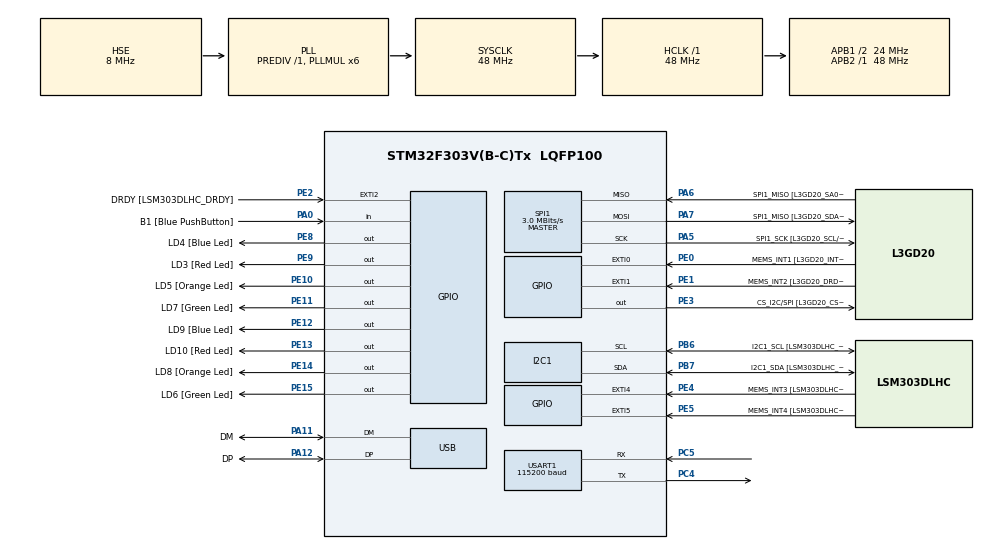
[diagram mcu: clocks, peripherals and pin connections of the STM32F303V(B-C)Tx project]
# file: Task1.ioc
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I2C1.Timing=0x00201D2B
I2C1.Timing-I2C=0x2000090E
Mcu.Family=STM32F3
Mcu.Name=STM32F303V(B-C)Tx
Mcu.Package=LQFP100
NVIC.PriorityGroup=NVIC_PRIORITYGROUP_0
NVIC.SPI1_IRQn=true\:0\:0\:false\:false\:true\:true\:true\:true
PA0.GPIO_Label=B1 [Blue PushButton]
PA0.Signal=GPIO_Input
PA11.GPIO_Label=DM
PA11.Mode=Device
PA11.Signal=USB_DM
PA12.GPIO_Label=DP
PA12.Mode=Device
PA12.Signal=USB_DP
PA13.GPIO_Label=SWDIO
PA13.Mode=Serial_Wire
PA13.Signal=SYS_JTMS-SWDIO
PA14.GPIO_Label=SWCLK
PA14.Mode=Serial_Wire
PA14.Signal=SYS_JTCK-SWCLK
PA5.GPIO_Label=SPI1_SCK [L3GD20_SCL/SPC]
PA5.Mode=Full_Duplex_Master
PA5.Signal=SPI1_SCK
PA6.GPIO_Label=SPI1_MISO [L3GD20_SA0/SDO]
PA6.Mode=Full_Duplex_Master
PA6.Signal=SPI1_MISO
PA7.GPIO_Label=SPI1_MISO [L3GD20_SDA/SDI/SDO]
PA7.Mode=Full_Duplex_Master
PA7.Signal=SPI1_MOSI
PB3.GPIO_Label=SWO
PB3.Signal=SYS_JTDO-TRACESWO
PB6.GPIO_Label=I2C1_SCL [LSM303DLHC_SCL]
PB6.GPIO_Pu=GPIO_PULLUP
PB6.Mode=I2C
PB6.Signal=I2C1_SCL
PB7.GPIO_Label=I2C1_SDA [LSM303DLHC_SDA]
PB7.GPIO_Pu=GPIO_PULLUP
PB7.Mode=I2C
PB7.Signal=I2C1_SDA
PC14-OSC32_IN.GPIO_Label=OSC32_IN
PC14-OSC32_IN.Signal=RCC_OSC32_IN
PC15-OSC32_OUT.GPIO_Label=OSC32_OUT
PC15-OSC32_OUT.Signal=RCC_OSC32_OUT
PC4.Mode=Asynchronous
PC4.Signal=USART1_TX
PC5.Mode=Asynchronous
PC5.Signal=USART1_RX
PE0.GPIO_Label=MEMS_INT1 [L3GD20_INT1]
PE0.GPIO_ModeDefaultEXTI=GPIO_MODE_EVT_RISING
PE0.Signal=GPXTI0
PE1.GPIO_Label=MEMS_INT2 [L3GD20_DRDY/INT2]
PE1.GPIO_ModeDefaultEXTI=GPIO_MODE_EVT_RISING
PE1.Signal=GPXTI1
PE10.GPIO_Label=LD5 [Orange Led]
PE10.Signal=GPIO_Output
PE11.GPIO_Label=LD7 [Green Led]
PE11.Signal=GPIO_Output
PE12.GPIO_Label=LD9 [Blue Led]
PE12.Signal=GPIO_Output
PE13.GPIO_Label=LD10 [Red Led]
PE13.Signal=GPIO_Output
PE14.GPIO_Label=LD8 [Orange Led]
PE14.Signal=GPIO_Output
PE15.GPIO_Label=LD6 [Green Led]
PE15.Signal=GPIO_Output
PE2.GPIO_Label=DRDY [LSM303DLHC_DRDY]
PE2.GPIO_ModeDefaultEXTI=GPIO_MODE_EVT_RISING
PE2.Signal=GPXTI2
PE3.GPIO_Label=CS_I2C/SPI [L3GD20_CS_I2C/SPI]
PE3.Signal=GPIO_Output
PE4.GPIO_Label=MEMS_INT3 [LSM303DLHC_INT1]
PE4.GPIO_ModeDefaultEXTI=GPIO_MODE_EVT_RISING
PE4.Signal=GPXTI4
PE5.GPIO_Label=MEMS_INT4 [LSM303DLHC_INT2]
PE5.GPIO_ModeDefaultEXTI=GPIO_MODE_EVT_RISING
PE5.Signal=GPXTI5
PE8.GPIO_Label=LD4 [Blue Led]
PE8.Signal=GPIO_Output
PE9.GPIO_Label=LD3 [Red Led]
PE9.Signal=GPIO_Output
PF0-OSC_IN.GPIO_Label=OSC_IN
PF0-OSC_IN.Mode=HSE-External-Clock-Source
PF0-OSC_IN.Signal=RCC_OSC_IN
PF1-OSC_OUT.GPIO_Label=OSC_OUT
PF1-OSC_OUT.Signal=RCC_OSC_OUT
ProjectManager.HeapSize=0x200
ProjectManager.StackSize=0x400
ProjectManager.TargetToolchain=CMake
RCC.AHBFreq_Value=48000000
RCC.APB1CLKDivider=RCC_HCLK_DIV2
RCC.APB1Freq_Value=24000000
RCC.APB1TimFreq_Value=48000000
RCC.APB2Freq_Value=48000000
RCC.APB2TimFreq_Value=48000000
RCC.CortexFreq_Value=48000000
RCC.HCLKFreq_Value=48000000
RCC.HSE_VALUE=8000000
RCC.HSI_VALUE=8000000
RCC.LSE_VALUE=32768
RCC.PLLMUL=RCC_PLL_MUL6
RCC.SYSCLKFreq_VALUE=48000000
RCC.SYSCLKSourceVirtual=RCC_SYSCLKSOURCE_PLLCLK
RCC.USBFreq_Value=48000000
SPI1.BaudRatePrescaler=SPI_BAUDRATEPRESCALER_16
SPI1.BaudRatePrescaler-Full_Duplex_Master=SPI_BAUDRATEPRESCALER_2
SPI1.CLKPhase=SPI_PHASE_2EDGE
SPI1.CLKPolarity=SPI_POLARITY_HIGH
SPI1.CalculateBaudRate=3.0 MBits/s
SPI1.CalculateBaudRate-Full_Duplex_Master=24.0 MBits/s
SPI1.DataSize=SPI_DATASIZE_8BIT
SPI1.Direction=SPI_DIRECTION_2LINES
SPI1.Mode=SPI_MODE_MASTER
SPI1.Mode-Full_Duplex_Master=SPI_MODE_MASTER
SPI1.VirtualType=VM_MASTER
USART1.BaudRate=115200
USART1.VirtualMode-Asynchronous=VM_ASYNC
board=STM32F3DISCOVERY

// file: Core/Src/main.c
/* USER CODE BEGIN Header */
/**
  ******************************************************************************
  * @file           : main.c
  * @brief          : Main program body
  ******************************************************************************
  * @attention
  *
  * Copyright (c) 2026 STMicroelectronics.
  * All rights reserved.
  *
  * This software is licensed under terms that can be found in the LICENSE file
  * in the root directory of this software component.
  * If no LICENSE file comes with this software, it is provided AS-IS.
  *
  ******************************************************************************
  */
/* USER CODE END Header */
#include "main.h"

/* USER CODE BEGIN Includes */
#include <stdint.h>
#include <stdio.h>
#include <string.h>
#include <sys/_intsup.h>
#include "stm32f3xx_hal.h"
#include "stm32f3xx_hal_def.h"
#include "stm32f3xx_hal_gpio.h"
/* USER CODE END Includes */

/* USER CODE BEGIN PTD */
#define CTRL_REG1 0x20
#define CTRL_REG1_VAL 0b10001111
/* USER CODE END PTD */

/* USER CODE BEGIN PD */
#define OUT_X_L  0x28
#define OUT_X_H  0x29
#define OUT_Y_L  0x2A
#define OUT_Y_H  0x2B
#define OUT_Z_L  0x2C
#define OUT_Z_H  0x2D
/* USER CODE END PD */

I2C_HandleTypeDef hi2c1;

SPI_HandleTypeDef hspi1;

UART_HandleTypeDef huart1;

PCD_HandleTypeDef hpcd_USB_FS;

void SystemClock_Config(void);
static void MX_GPIO_Init(void);
static void MX_I2C1_Init(void);
static void MX_SPI1_Init(void);
static void MX_USART1_UART_Init(void);
static void MX_USB_PCD_Init(void);

/* USER CODE BEGIN 0 */

void gyro_init ()
{
  uint8_t tx [2] = {CTRL_REG1 , CTRL_REG1_VAL};
  HAL_GPIO_WritePin (GPIOE , GPIO_PIN_3 , GPIO_PIN_RESET);
  HAL_SPI_Transmit (& hspi1 , tx , 2, HAL_MAX_DELAY);
  HAL_GPIO_WritePin (GPIOE , GPIO_PIN_3 , GPIO_PIN_SET  );
}

//single reg
uint8_t gyro_reg_read(uint8_t reg)
{
    uint8_t tx = reg | 0x80;  // MSB=1 for read
    uint8_t rx = 0;

    HAL_GPIO_WritePin(GPIOE, GPIO_PIN_3, GPIO_PIN_RESET);  // CS LOW
    HAL_SPI_Transmit(&hspi1, &tx, 1, HAL_MAX_DELAY);       // address ->
    HAL_SPI_Receive(&hspi1, &rx, 1, HAL_MAX_DELAY);        //<- byte
    HAL_GPIO_WritePin(GPIOE, GPIO_PIN_3, GPIO_PIN_SET);    // CS HIGH

    return rx;
}

//xyz read
void ggyro_xyz_read(int16_t *x, int16_t *y, int16_t *z)
{
    uint8_t tx = OUT_X_L | 0x80 | 0x40;  // read bit & auto-increment bit
    uint8_t rx[6] = {0};

    HAL_GPIO_WritePin(GPIOE, GPIO_PIN_3, GPIO_PIN_RESET);  // CS LOW once
    HAL_SPI_Transmit(&hspi1, &tx, 1, HAL_MAX_DELAY);       // send start register
    HAL_SPI_Receive(&hspi1, rx, 6, HAL_MAX_DELAY);         // read all 6 bytes
    HAL_GPIO_WritePin(GPIOE, GPIO_PIN_3, GPIO_PIN_SET);    // CS HIGH one time

    *x = (int16_t)((rx[1] << 8) | rx[0]);  // XH | XL
    *y = (int16_t)((rx[3] << 8) | rx[2]);  // YH | YL
    *z = (int16_t)((rx[5] << 8) | rx[4]);  // ZH | ZL
}

/* USER CODE END 0 */

int main(void)
{

  /* MCU Configuration--------------------------------------------------------*/

  /* Reset of all peripherals, Initializes the Flash interface and the Systick. */
  HAL_Init();

  /* Configure the system clock */
  SystemClock_Config();

  /* Initialize all configured peripherals */
  MX_GPIO_Init();
  MX_I2C1_Init();
  MX_SPI1_Init();
  MX_USART1_UART_Init();
  MX_USB_PCD_Init();
  /* USER CODE BEGIN 2 */
  gyro_init();

  int16_t x, y, z;
  uint8_t raw_temp;
  char buffer[64];
  /* USER CODE END 2 */

  /* Infinite loop */
  while (1)
  {
      //temp
      raw_temp = gyro_reg_read(0x26);
      //xyz
      ggyro_xyz_read(&x, &y, &z);

      float x_dps = x * 0.00875f;
      float y_dps = y * 0.00875f;
      float z_dps = z * 0.00875f;

      sprintf(buffer, "%d,%.2f,%.2f,%.2f\r\n", raw_temp, x_dps, y_dps, z_dps);
      HAL_UART_Transmit(&huart2, (uint8_t*)buffer, strlen(buffer), HAL_MAX_DELAY);

      HAL_Delay(100);
  }
}

void SystemClock_Config(void)
{
  RCC_OscInitTypeDef RCC_OscInitStruct = {0};
  RCC_ClkInitTypeDef RCC_ClkInitStruct = {0};
  RCC_PeriphCLKInitTypeDef PeriphClkInit = {0};

  /** Initializes the RCC Oscillators according to the specified parameters
  * in the RCC_OscInitTypeDef structure.
  */
  RCC_OscInitStruct.OscillatorType = RCC_OSCILLATORTYPE_HSI|RCC_OSCILLATORTYPE_HSE;
  RCC_OscInitStruct.HSEState = RCC_HSE_BYPASS;
  RCC_OscInitStruct.HSEPredivValue = RCC_HSE_PREDIV_DIV1;
  RCC_OscInitStruct.HSIState = RCC_HSI_ON;
  RCC_OscInitStruct.HSICalibrationValue = RCC_HSICALIBRATION_DEFAULT;
  RCC_OscInitStruct.PLL.PLLState = RCC_PLL_ON;
  RCC_OscInitStruct.PLL.PLLSource = RCC_PLLSOURCE_HSE;
  RCC_OscInitStruct.PLL.PLLMUL = RCC_PLL_MUL6;
  if (HAL_RCC_OscConfig(&RCC_OscInitStruct) != HAL_OK)
  {
    Error_Handler();
  }

  /** Initializes the CPU, AHB and APB buses clocks
  */
  RCC_ClkInitStruct.ClockType = RCC_CLOCKTYPE_HCLK|RCC_CLOCKTYPE_SYSCLK
                              |RCC_CLOCKTYPE_PCLK1|RCC_CLOCKTYPE_PCLK2;
  RCC_ClkInitStruct.SYSCLKSource = RCC_SYSCLKSOURCE_PLLCLK;
  RCC_ClkInitStruct.AHBCLKDivider = RCC_SYSCLK_DIV1;
  RCC_ClkInitStruct.APB1CLKDivider = RCC_HCLK_DIV2;
  RCC_ClkInitStruct.APB2CLKDivider = RCC_HCLK_DIV1;

  if (HAL_RCC_ClockConfig(&RCC_ClkInitStruct, FLASH_LATENCY_1) != HAL_OK)
  {
    Error_Handler();
  }
  PeriphClkInit.PeriphClockSelection = RCC_PERIPHCLK_USB|RCC_PERIPHCLK_USART1
                              |RCC_PERIPHCLK_I2C1;
  PeriphClkInit.Usart1ClockSelection = RCC_USART1CLKSOURCE_PCLK2;
  PeriphClkInit.I2c1ClockSelection = RCC_I2C1CLKSOURCE_HSI;
  PeriphClkInit.USBClockSelection = RCC_USBCLKSOURCE_PLL;
  if (HAL_RCCEx_PeriphCLKConfig(&PeriphClkInit) != HAL_OK)
  {
    Error_Handler();
  }
}

static void MX_I2C1_Init(void)
{

  hi2c1.Instance = I2C1;
  hi2c1.Init.Timing = 0x00201D2B;
  hi2c1.Init.OwnAddress1 = 0;
  hi2c1.Init.AddressingMode = I2C_ADDRESSINGMODE_7BIT;
  hi2c1.Init.DualAddressMode = I2C_DUALADDRESS_DISABLE;
  hi2c1.Init.OwnAddress2 = 0;
  hi2c1.Init.OwnAddress2Masks = I2C_OA2_NOMASK;
  hi2c1.Init.GeneralCallMode = I2C_GENERALCALL_DISABLE;
  hi2c1.Init.NoStretchMode = I2C_NOSTRETCH_DISABLE;
  if (HAL_I2C_Init(&hi2c1) != HAL_OK)
  {
    Error_Handler();
  }

  /** Configure Analogue filter
  */
  if (HAL_I2CEx_ConfigAnalogFilter(&hi2c1, I2C_ANALOGFILTER_ENABLE) != HAL_OK)
  {
    Error_Handler();
  }

  /** Configure Digital filter
  */
  if (HAL_I2CEx_ConfigDigitalFilter(&hi2c1, 0) != HAL_OK)
  {
    Error_Handler();
  }

}

static void MX_SPI1_Init(void)
{

  /* SPI1 parameter configuration*/
  hspi1.Instance = SPI1;
  hspi1.Init.Mode = SPI_MODE_MASTER;
  hspi1.Init.Direction = SPI_DIRECTION_2LINES;
  hspi1.Init.DataSize = SPI_DATASIZE_4BIT;
  hspi1.Init.CLKPolarity = SPI_POLARITY_HIGH;
  hspi1.Init.CLKPhase = SPI_PHASE_2EDGE;
  hspi1.Init.NSS = SPI_NSS_SOFT;
  hspi1.Init.BaudRatePrescaler = SPI_BAUDRATEPRESCALER_16;
  hspi1.Init.FirstBit = SPI_FIRSTBIT_MSB;
  hspi1.Init.TIMode = SPI_TIMODE_DISABLE;
  hspi1.Init.CRCCalculation = SPI_CRCCALCULATION_DISABLE;
  hspi1.Init.CRCPolynomial = 7;
  hspi1.Init.CRCLength = SPI_CRC_LENGTH_DATASIZE;
  hspi1.Init.NSSPMode = SPI_NSS_PULSE_DISABLE;
  if (HAL_SPI_Init(&hspi1) != HAL_OK)
  {
    Error_Handler();
  }

}

static void MX_USART1_UART_Init(void)
{

  huart1.Instance = USART1;
  huart1.Init.BaudRate = 115200;
  huart1.Init.WordLength = UART_WORDLENGTH_8B;
  huart1.Init.StopBits = UART_STOPBITS_1;
  huart1.Init.Parity = UART_PARITY_NONE;
  huart1.Init.Mode = UART_MODE_TX_RX;
  huart1.Init.HwFlowCtl = UART_HWCONTROL_NONE;
  huart1.Init.OverSampling = UART_OVERSAMPLING_16;
  huart1.Init.OneBitSampling = UART_ONE_BIT_SAMPLE_DISABLE;
  huart1.AdvancedInit.AdvFeatureInit = UART_ADVFEATURE_NO_INIT;
  if (HAL_UART_Init(&huart1) != HAL_OK)
  {
    Error_Handler();
  }

}

static void MX_USB_PCD_Init(void)
{

  hpcd_USB_FS.Instance = USB;
  hpcd_USB_FS.Init.dev_endpoints = 8;
  hpcd_USB_FS.Init.speed = PCD_SPEED_FULL;
  hpcd_USB_FS.Init.phy_itface = PCD_PHY_EMBEDDED;
  hpcd_USB_FS.Init.low_power_enable = DISABLE;
  hpcd_USB_FS.Init.battery_charging_enable = DISABLE;
  if (HAL_PCD_Init(&hpcd_USB_FS) != HAL_OK)
  {
    Error_Handler();
  }

}

static void MX_GPIO_Init(void)
{
  GPIO_InitTypeDef GPIO_InitStruct = {0};

  /* GPIO Ports Clock Enable */
  __HAL_RCC_GPIOE_CLK_ENABLE();
  __HAL_RCC_GPIOC_CLK_ENABLE();
  __HAL_RCC_GPIOF_CLK_ENABLE();
  __HAL_RCC_GPIOA_CLK_ENABLE();
  __HAL_RCC_GPIOB_CLK_ENABLE();

  /*Configure GPIO pin Output Level */
  HAL_GPIO_WritePin(GPIOE, CS_I2C_SPI_Pin|LD4_Pin|LD3_Pin|LD5_Pin
                          |LD7_Pin|LD9_Pin|LD10_Pin|LD8_Pin
                          |LD6_Pin, GPIO_PIN_RESET);

  /*Configure GPIO pins : DRDY_Pin MEMS_INT3_Pin MEMS_INT4_Pin MEMS_INT1_Pin
                           MEMS_INT2_Pin */
  GPIO_InitStruct.Pin = DRDY_Pin|MEMS_INT3_Pin|MEMS_INT4_Pin|MEMS_INT1_Pin
                          |MEMS_INT2_Pin;
  GPIO_InitStruct.Mode = GPIO_MODE_EVT_RISING;
  GPIO_InitStruct.Pull = GPIO_NOPULL;
  HAL_GPIO_Init(GPIOE, &GPIO_InitStruct);

  /*Configure GPIO pins : CS_I2C_SPI_Pin LD4_Pin LD3_Pin LD5_Pin
                           LD7_Pin LD9_Pin LD10_Pin LD8_Pin
                           LD6_Pin */
  GPIO_InitStruct.Pin = CS_I2C_SPI_Pin|LD4_Pin|LD3_Pin|LD5_Pin
                          |LD7_Pin|LD9_Pin|LD10_Pin|LD8_Pin
                          |LD6_Pin;
  GPIO_InitStruct.Mode = GPIO_MODE_OUTPUT_PP;
  GPIO_InitStruct.Pull = GPIO_NOPULL;
  GPIO_InitStruct.Speed = GPIO_SPEED_FREQ_LOW;
  HAL_GPIO_Init(GPIOE, &GPIO_InitStruct);

  /*Configure GPIO pin : B1_Pin */
  GPIO_InitStruct.Pin = B1_Pin;
  GPIO_InitStruct.Mode = GPIO_MODE_INPUT;
  GPIO_InitStruct.Pull = GPIO_NOPULL;
  HAL_GPIO_Init(B1_GPIO_Port, &GPIO_InitStruct);

}

void Error_Handler(void)
{
  __disable_irq();
  while (1)
  {
  }
}
